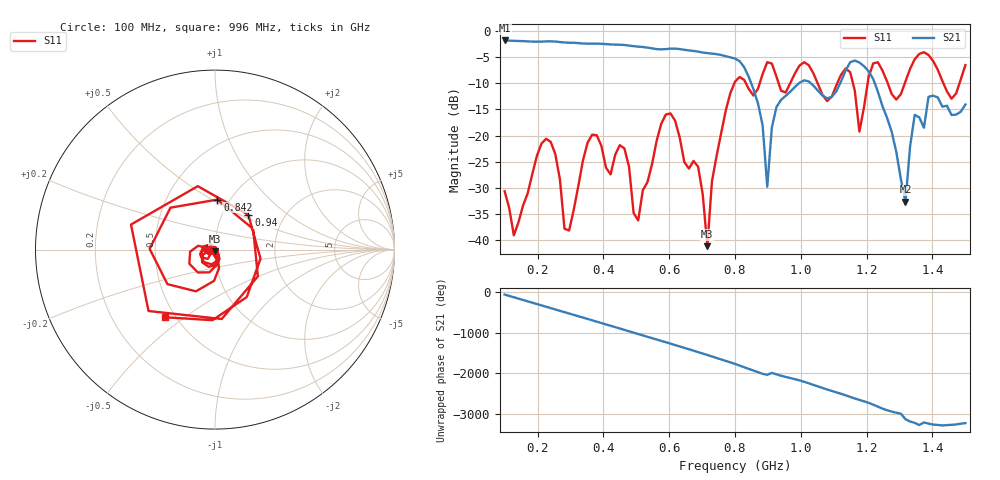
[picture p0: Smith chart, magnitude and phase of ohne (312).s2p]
! NanoVNA-App
! Date: 2025-09-25 14:23:13
! Start: 100MHz Stop: 1,5GHz Points: 101
! S-Parameter data: F S11 S21 S12 S22
# Hz S RI R 50
!  Frequency  S11_Real  S11_Imag  S21_Real  S21_Imag  S12_Real  S12_Imag  S22_Real  S22_Imag
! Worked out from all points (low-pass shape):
!   101 points, 100 MHz to 1.5 GHz, reference 50 ohm
!   highest |S21| = -1.79 dB at 100 MHz (marker M1); lowest = -32.7 dB at 1.318 GHz (marker M2)
!   |S21| within 3 dB of the highest: start of sweep to 771.1 MHz
!   lowest |S11| = -41.2 dB at 716 MHz (marker M3), VSWR 1.02, Z = 49.7 - j0.835 ohm
!   |S11| at or under -10 dB: start of sweep to 798 MHz; 833.2 MHz to 875 MHz (41.82 MHz wide, 4.9 % of centre); 1.051 GHz to 1.111 GHz (59.38 MHz wide, 5.49 % of centre) (the widest 3 of 7)
!   S12 and S22 are empty: the file has one direction only
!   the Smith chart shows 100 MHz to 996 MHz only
!   S11 on the Smith chart (normalised r, x): 100 MHz: 0.94, -0.01; 842 MHz: 0.88, +0.53; 940 MHz: 1.32, +0.55; 996 MHz: 0.44, -0.43
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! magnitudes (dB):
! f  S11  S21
! 100 MHz  -30.6  -1.8
! 128 MHz  -39.1  -1.9
! 226 MHz  -20.6  -2.0
! 296 MHz  -38.2  -2.2
! 338 MHz  -24.8  -2.4
! 464 MHz  -22.5  -2.7
! 506 MHz  -36.2  -3.0
! 576 MHz  -17.7  -3.5
! 688 MHz  -26.0  -3.9
! 716 MHz  -41.2  -4.2
! 800 MHz  -9.7  -5.3
! 842 MHz  -11.1  -8.8
! 898 MHz  -5.9  -29.8
! 940 MHz  -11.4  -13.2
! 996 MHz  -6.6  -9.9
! 1.038 GHz  -8.1  -10.4
! 1.178 GHz  -19.2  -6.0
! 1.22 GHz  -6.2  -9.2
! 1.276 GHz  -12.0  -19.2
! 1.318 GHz  -9.6  -32.7
! 1.346 GHz  -5.4  -16.0
! 1.5 GHz  -6.5  -14.1
